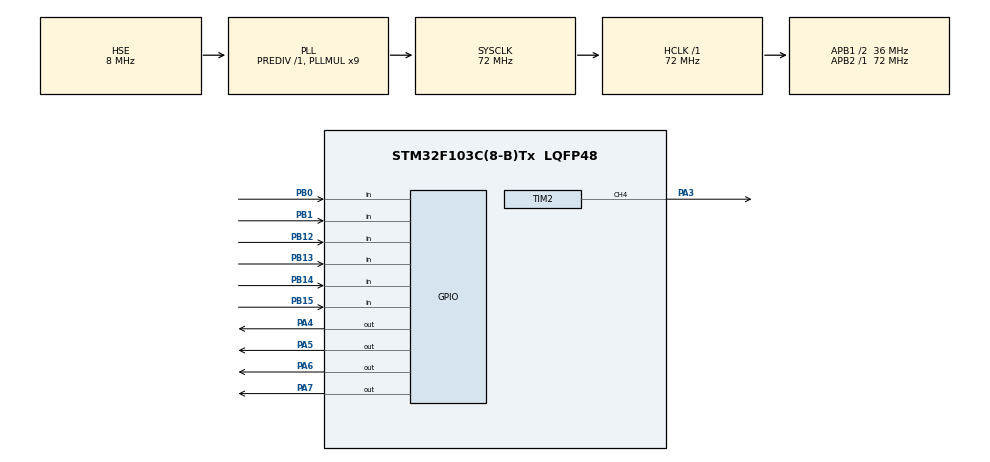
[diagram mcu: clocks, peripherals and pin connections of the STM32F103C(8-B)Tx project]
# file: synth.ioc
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Mcu.Family=STM32F1
Mcu.Name=STM32F103C(8-B)Tx
Mcu.Package=LQFP48
NVIC.PriorityGroup=NVIC_PRIORITYGROUP_4
NVIC.TIM2_IRQn=true\:0\:0\:false\:false\:true\:true\:true\:true
PA3.Signal=S_TIM2_CH4
PA4.GPIO_PuPd=GPIO_PULLUP
PA4.PinState=GPIO_PIN_SET
PA4.Signal=GPIO_Output
PA5.GPIO_PuPd=GPIO_PULLUP
PA5.PinState=GPIO_PIN_SET
PA5.Signal=GPIO_Output
PA6.GPIO_PuPd=GPIO_PULLUP
PA6.PinState=GPIO_PIN_SET
PA6.Signal=GPIO_Output
PA7.GPIO_PuPd=GPIO_PULLUP
PA7.PinState=GPIO_PIN_SET
PA7.Signal=GPIO_Output
PB0.GPIO_PuPd=GPIO_PULLDOWN
PB0.Signal=GPIO_Input
PB1.GPIO_PuPd=GPIO_PULLDOWN
PB1.Signal=GPIO_Input
PB12.GPIO_PuPd=GPIO_PULLDOWN
PB12.Signal=GPIO_Input
PB13.GPIO_PuPd=GPIO_PULLDOWN
PB13.Signal=GPIO_Input
PB14.GPIO_PuPd=GPIO_PULLDOWN
PB14.Signal=GPIO_Input
PB15.GPIO_PuPd=GPIO_PULLDOWN
PB15.Signal=GPIO_Input
PD0-OSC_IN.Mode=HSE-External-Oscillator
PD0-OSC_IN.Signal=RCC_OSC_IN
PD1-OSC_OUT.Mode=HSE-External-Oscillator
PD1-OSC_OUT.Signal=RCC_OSC_OUT
ProjectManager.HeapSize=0x200
ProjectManager.StackSize=0x400
ProjectManager.TargetToolchain=STM32CubeIDE
RCC.AHBFreq_Value=72000000
RCC.APB1CLKDivider=RCC_HCLK_DIV2
RCC.APB1Freq_Value=36000000
RCC.APB1TimFreq_Value=72000000
RCC.APB2Freq_Value=72000000
RCC.APB2TimFreq_Value=72000000
RCC.HCLKFreq_Value=72000000
RCC.PLLMUL=RCC_PLL_MUL9
RCC.PLLSourceVirtual=RCC_PLLSOURCE_HSE
RCC.SYSCLKFreq_VALUE=72000000
RCC.SYSCLKSource=RCC_SYSCLKSOURCE_PLLCLK
RCC.USBFreq_Value=72000000
SH.S_TIM2_CH4.0=TIM2_CH4,PWM Generation4 CH4
TIM2.Channel-PWM\ Generation4\ CH4=TIM_CHANNEL_4
TIM2.Period=999
TIM2.Prescaler=1
TIM2.Pulse-PWM\ Generation4\ CH4=500
VP_TIM2_VS_ClockSourceINT.Mode=Internal
VP_TIM2_VS_ClockSourceITR.Mode=TriggerSource_ITR0
board=custom

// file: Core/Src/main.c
/* USER CODE BEGIN Header */
/**
  ******************************************************************************
  * @file           : main.c
  * @brief          : Main program body
  ******************************************************************************
  * @attention
  *
  * Copyright (c) 2026 STMicroelectronics.
  * All rights reserved.
  *
  * This software is licensed under terms that can be found in the LICENSE file
  * in the root directory of this software component.
  * If no LICENSE file comes with this software, it is provided AS-IS.
  *
  ******************************************************************************
  */
/* USER CODE END Header */
#include "main.h"

/* USER CODE BEGIN Includes */
#include "synth.h"
/* USER CODE END Includes */

TIM_HandleTypeDef htim2;

/* USER CODE BEGIN PV */
/*
uint8_t sin_arr[SIN_SIZE];
uint32_t step;
uint32_t phase = 0;
DACVal_t freqs[24] = {261.63f, 277.18f, 293.66f, 311.13f, 329.63f, 349.23f,
		 	          369.99f, 392.00f, 415.30f, 440.00f, 466.16f, 493.88f,
					  523.25f, 554.37f, 587.33f, 622.25f, 659.26f, 698.46f,
					  739.99f, 783.99f, 830.61f, 880.00f, 932.22f, 987.77f};

typedef struct
{
	GPIO_TypeDef* port;
	uint16_t pin;
} GPIO_t;

GPIO_t pin_cols[4] = {{GPIOA, GPIO_PIN_4}, {GPIOA, GPIO_PIN_5}, {GPIOA, GPIO_PIN_6}, {GPIOA, GPIO_PIN_7}};
GPIO_t pin_rows[6] = {{GPIOB, GPIO_PIN_0}, {GPIOB, GPIO_PIN_1},
		              {GPIOB, GPIO_PIN_12}, {GPIOB, GPIO_PIN_13},
					  {GPIOB, GPIO_PIN_14}, {GPIOB, GPIO_PIN_15}};
*/

/* USER CODE END PV */

void SystemClock_Config(void);
static void MX_GPIO_Init(void);
static void MX_TIM2_Init(void);

/* USER CODE BEGIN 0 */
/*
static uint8_t WaveSine(uint32_t phase) {return (uint8_t)sin_arr[phase >> 24];}
static uint8_t WaveSquare(uint32_t phase) {return (uint8_t)((phase >> 24) > 127 ? 1 : 0);}

typedef uint8_t (*fn)(uint32_t phase);
static fn CurType = WaveSine;

typedef struct
{
  uint8_t freq;
  bool is_pressed;
} Voice;

static uint32_t ScanKey()
{
	uint32_t mask = 0;
	for (int c = 0; c < 4; c++)
	{
		for (int i = 0; i < 4; i++)
		{
			HAL_GPIO_WritePin(pin_cols[i].port, pin_cols[i].pin, c == i ? GPIO_PIN_SET : GPIO_PIN_RESET);
		}
		for (int r = 0; r < 6; r++)
		{
			if (HAL_GPIO_ReadPin(pin_rows[r].port, pin_rows[r].pin) == GPIO_PIN_SET)
				mask |= (1U << (6 * c + r));
		}
	}
	for (int i = 0; i < 4; i++)
	        HAL_GPIO_WritePin(pin_cols[i].port, pin_cols[i].pin, GPIO_PIN_RESET);
	return mask;
}

void TIM2_IRQHandler(void)
{
  HAL_TIM_IRQHandler(&htim2);
  phase += step;
  TIM2->CCR4 = sin_arr[phase >> 24];
  //__HAL_TIM_CLEAR_FLAG(&htim2, TIM_FLAG_UPDATE);
}

static void CalculateStep(const float freq)
{
  step = (uint32_t)(4294967296ULL / 35156 * freq);
}
*/
/* USER CODE END 0 */

int main(void)
{

  /* MCU Configuration--------------------------------------------------------*/

  /* Reset of all peripherals, Initializes the Flash interface and the Systick. */
  HAL_Init();

  /* USER CODE BEGIN Init */

  // Blink PC13 to prove MCU is alive (runs on HSI 8MHz before clock config)
  __HAL_RCC_GPIOC_CLK_ENABLE();
  GPIO_InitTypeDef led = {0};
  led.Pin = GPIO_PIN_13;
  led.Mode = GPIO_MODE_OUTPUT_PP;
  led.Speed = GPIO_SPEED_FREQ_LOW;
  HAL_GPIO_Init(GPIOC, &led);
  for (int i = 0; i < 10; i++)
  {
    HAL_GPIO_TogglePin(GPIOC, led.Pin);
    HAL_Delay(100);
  }
  /* USER CODE END Init */

  /* Configure the system clock */
  SystemClock_Config();

  /* Initialize all configured peripherals */
  MX_GPIO_Init();
  MX_TIM2_Init();
  /* USER CODE BEGIN 2 */
  SynthInit();
  __HAL_TIM_ENABLE_IT(&htim2, TIM_IT_UPDATE);
  HAL_TIM_PWM_Start(&htim2, TIM_CHANNEL_4);
  static uint32_t prev = 0;
  /* USER CODE END 2 */

  /* Infinite loop */
  /* USER CODE BEGIN WHILE */
  while (1)
  {
	uint32_t current_mask = scan_mask;
	uint32_t ch = current_mask ^ prev;
    for (int8_t i = 0; i < 24; i++)
    {
      if (ch >> i & 1U) current_mask >> i & 1U ? KeyPress(i) : KeyUp(i);
    }
    prev = current_mask;
    /* USER CODE END WHILE */

  }
}

void SystemClock_Config(void)
{
  RCC_OscInitTypeDef RCC_OscInitStruct = {0};
  RCC_ClkInitTypeDef RCC_ClkInitStruct = {0};

  /** Initializes the RCC Oscillators according to the specified parameters
  * in the RCC_OscInitTypeDef structure.
  */
  RCC_OscInitStruct.OscillatorType = RCC_OSCILLATORTYPE_HSE;
  RCC_OscInitStruct.HSEState = RCC_HSE_ON;
  RCC_OscInitStruct.HSEPredivValue = RCC_HSE_PREDIV_DIV1;
  RCC_OscInitStruct.HSIState = RCC_HSI_ON;
  RCC_OscInitStruct.PLL.PLLState = RCC_PLL_ON;
  RCC_OscInitStruct.PLL.PLLSource = RCC_PLLSOURCE_HSE;
  RCC_OscInitStruct.PLL.PLLMUL = RCC_PLL_MUL9;
  if (HAL_RCC_OscConfig(&RCC_OscInitStruct) != HAL_OK)
  {
    Error_Handler();
  }

  /** Initializes the CPU, AHB and APB buses clocks
  */
  RCC_ClkInitStruct.ClockType = RCC_CLOCKTYPE_HCLK|RCC_CLOCKTYPE_SYSCLK
                              |RCC_CLOCKTYPE_PCLK1|RCC_CLOCKTYPE_PCLK2;
  RCC_ClkInitStruct.SYSCLKSource = RCC_SYSCLKSOURCE_PLLCLK;
  RCC_ClkInitStruct.AHBCLKDivider = RCC_SYSCLK_DIV1;
  RCC_ClkInitStruct.APB1CLKDivider = RCC_HCLK_DIV2;
  RCC_ClkInitStruct.APB2CLKDivider = RCC_HCLK_DIV1;

  if (HAL_RCC_ClockConfig(&RCC_ClkInitStruct, FLASH_LATENCY_2) != HAL_OK)
  {
    Error_Handler();
  }
}

static void MX_TIM2_Init(void)
{

  TIM_ClockConfigTypeDef sClockSourceConfig = {0};
  TIM_SlaveConfigTypeDef sSlaveConfig = {0};
  TIM_MasterConfigTypeDef sMasterConfig = {0};
  TIM_OC_InitTypeDef sConfigOC = {0};

  /* USER CODE BEGIN TIM2_Init 1 */
  //htim2.Init.Prescaler = 7;
  //htim2.Init.Period = 999;
  //sConfigOC.Pulse = 500;
  /* USER CODE END TIM2_Init 1 */
  htim2.Instance = TIM2;
  htim2.Init.Prescaler = 1;
  htim2.Init.CounterMode = TIM_COUNTERMODE_UP;
  htim2.Init.Period = 999;
  htim2.Init.ClockDivision = TIM_CLOCKDIVISION_DIV1;
  htim2.Init.AutoReloadPreload = TIM_AUTORELOAD_PRELOAD_DISABLE;
  if (HAL_TIM_Base_Init(&htim2) != HAL_OK)
  {
    Error_Handler();
  }
  sClockSourceConfig.ClockSource = TIM_CLOCKSOURCE_INTERNAL;
  if (HAL_TIM_ConfigClockSource(&htim2, &sClockSourceConfig) != HAL_OK)
  {
    Error_Handler();
  }
  if (HAL_TIM_PWM_Init(&htim2) != HAL_OK)
  {
    Error_Handler();
  }
  sSlaveConfig.SlaveMode = TIM_SLAVEMODE_DISABLE;
  sSlaveConfig.InputTrigger = TIM_TS_ITR0;
  if (HAL_TIM_SlaveConfigSynchro(&htim2, &sSlaveConfig) != HAL_OK)
  {
    Error_Handler();
  }
  sMasterConfig.MasterOutputTrigger = TIM_TRGO_RESET;
  sMasterConfig.MasterSlaveMode = TIM_MASTERSLAVEMODE_DISABLE;
  if (HAL_TIMEx_MasterConfigSynchronization(&htim2, &sMasterConfig) != HAL_OK)
  {
    Error_Handler();
  }
  sConfigOC.OCMode = TIM_OCMODE_PWM1;
  sConfigOC.Pulse = 500;
  sConfigOC.OCPolarity = TIM_OCPOLARITY_HIGH;
  sConfigOC.OCFastMode = TIM_OCFAST_DISABLE;
  if (HAL_TIM_PWM_ConfigChannel(&htim2, &sConfigOC, TIM_CHANNEL_4) != HAL_OK)
  {
    Error_Handler();
  }
  HAL_TIM_MspPostInit(&htim2);

}

static void MX_GPIO_Init(void)
{
  GPIO_InitTypeDef GPIO_InitStruct = {0};

  /* GPIO Ports Clock Enable */
  __HAL_RCC_GPIOD_CLK_ENABLE();
  __HAL_RCC_GPIOA_CLK_ENABLE();
  __HAL_RCC_GPIOB_CLK_ENABLE();

  /*Configure GPIO pin Output Level */
  HAL_GPIO_WritePin(GPIOA, GPIO_PIN_4|GPIO_PIN_5|GPIO_PIN_6|GPIO_PIN_7, GPIO_PIN_SET);

  /*Configure GPIO pins : PA4 PA5 PA6 PA7 */
  GPIO_InitStruct.Pin = GPIO_PIN_4|GPIO_PIN_5|GPIO_PIN_6|GPIO_PIN_7;
  GPIO_InitStruct.Mode = GPIO_MODE_OUTPUT_PP;
  GPIO_InitStruct.Pull = GPIO_PULLUP;
  GPIO_InitStruct.Speed = GPIO_SPEED_FREQ_LOW;
  HAL_GPIO_Init(GPIOA, &GPIO_InitStruct);

  /*Configure GPIO pins : PB0 PB1 PB12 PB13
                           PB14 PB15 */
  GPIO_InitStruct.Pin = GPIO_PIN_0|GPIO_PIN_1|GPIO_PIN_12|GPIO_PIN_13
                          |GPIO_PIN_14|GPIO_PIN_15;
  GPIO_InitStruct.Mode = GPIO_MODE_INPUT;
  GPIO_InitStruct.Pull = GPIO_PULLDOWN;
  HAL_GPIO_Init(GPIOB, &GPIO_InitStruct);

}

void Error_Handler(void)
{
  __disable_irq();
  while (1)
  {
  }
}
